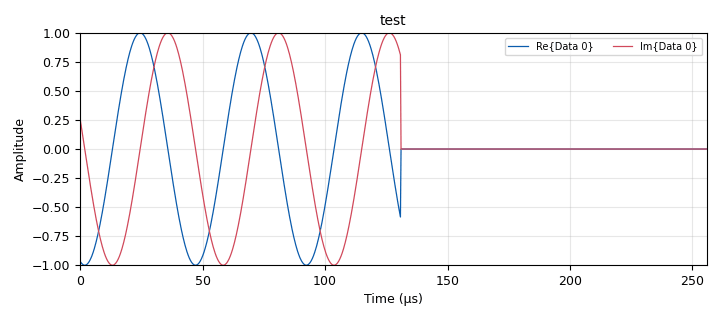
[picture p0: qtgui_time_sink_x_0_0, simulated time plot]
options:
  parameters:
    author: NustyFrozen
    description: simple ask script to test star's protocol
    generate_options: qt_gui
    id: ASK
    output_language: python
    title: Simple ASK
  states: {}

blocks:
- name: center_freq
  id: variable
  parameters:
    value: 433.92e6
  states: {}
- name: samp_rate
  id: variable
  parameters:
    value: 4e6
  states: {}
- name: sps
  id: variable
  parameters:
    value: '1900'
  states: {}
- name: analog_sig_source_x_0
  id: analog_sig_source_x
  parameters:
    amp: '1'
    freq: 22.102355957e3
    offset: '0'
    phase: '0'
    samp_rate: samp_rate
    type: complex
    waveform: analog.GR_COS_WAVE
  states: {}
- name: blocks_multiply_xx_0
  id: blocks_multiply_xx
  parameters:
    type: complex
  states: {}
- name: blocks_repeat_0
  id: blocks_repeat
  parameters:
    interp: sps
    type: complex
  states: {}
- name: blocks_vector_source_x_0
  id: blocks_vector_source_x
  parameters:
    repeat: 'True'
    type: complex
    vector: '[1,0,0,1,0,1,1,0,1,1,0,1,1,0,0,1,0,1,1,0,0,1,0,1,1,0,1,1,0,1,1,0,1,1,0,1,1,0,1,1,0,1,1,0,1,1,0,1,1,0,1,1,0,1,1,0,1,1,0,0,1,0,1,1,0,1,1,0,1,1,0,1,1,0,0,0,0,0,0,0,0,0,0,0,0,0]'
  states: {}
- name: qtgui_time_sink_x_0
  id: qtgui_time_sink_x
  parameters:
    autoscale: 'True'
    size: '8192'
    srate: samp_rate
    type: complex
  states: {state: disabled}
- name: qtgui_time_sink_x_0_0
  id: qtgui_time_sink_x
  parameters:
    name: '"test"'
    size: '1024'
    srate: samp_rate
    type: complex
    update_time: '0.1'
  states: {}
- name: soapy_hackrf_sink_2
  id: soapy_hackrf_sink
  parameters:
    amp: 'True'
    center_freq: center_freq
    samp_rate: samp_rate
    type: fc32
    vga: '26'
  states: {}

connections:
- [analog_sig_source_x_0, '0', blocks_multiply_xx_0, '1']
- [blocks_multiply_xx_0, '0', qtgui_time_sink_x_0_0, '0']
- [blocks_multiply_xx_0, '0', soapy_hackrf_sink_2, '0']
- [blocks_repeat_0, '0', blocks_multiply_xx_0, '0']
- [blocks_vector_source_x_0, '0', blocks_repeat_0, '0']
- [blocks_vector_source_x_0, '0', qtgui_time_sink_x_0, '0']

metadata:
  file_format: 1
  grc_version: 3.10.10.0
